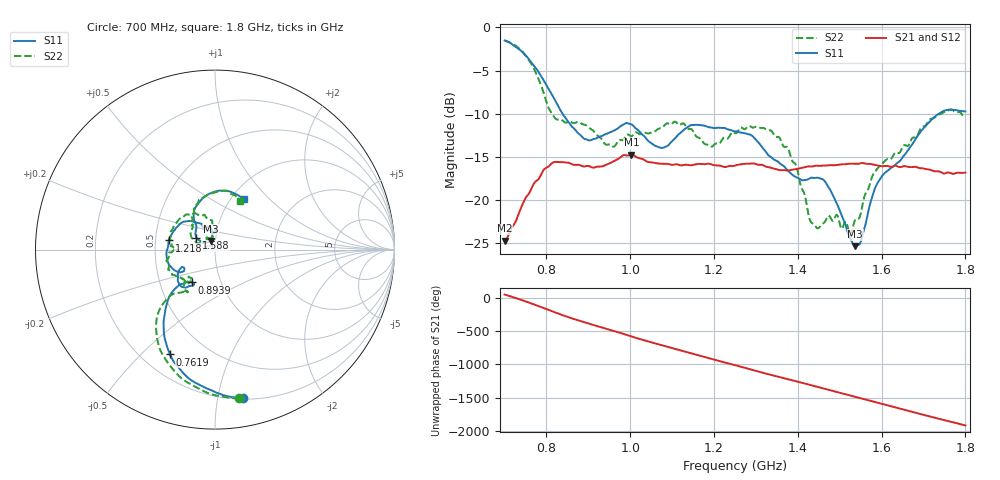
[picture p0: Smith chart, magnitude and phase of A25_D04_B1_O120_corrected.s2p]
! Created with skrf 1.9.0 (http://scikit-rf.org).
# Hz S RI R 50.0
!freq ReS11 ImS11 ReS21 ImS21 ReS12 ImS12 ReS22 ImS22
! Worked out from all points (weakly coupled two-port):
!   1601 points, 700 MHz to 1.8 GHz, reference 50 ohm
!   highest |S21| = -14.75 dB at 1.002 GHz (marker M1); lowest = -24.7 dB at 700 MHz (marker M2)
!   lowest |S11| = -25.4 dB at 1.537 GHz (marker M3), VSWR 1.11, Z = 47.5 + j4.61 ohm
!   |S11| at or under -10 dB: 838.1 MHz to 1.737 GHz (898.4 MHz wide, 69.8 % of centre)
!   |S22| runs from -24.1 to -1.5 dB; largest |S21 - S12| = 0.0033
!   S11 on the Smith chart (normalised r, x): 700 MHz: 0.21, -1.18; 761.9 MHz: 0.31, -0.61; 893.9 MHz: 0.72, -0.28; 1.218 GHz: 0.59, +0.06; 1.588 GHz: 0.81, +0.11; 1.8 GHz: 1.14, +0.72
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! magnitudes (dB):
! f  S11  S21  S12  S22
! 700 MHz  -1.5  -24.7  -24.5  -1.5
! 761.9 MHz  -3.9  -18.9  -18.9  -4.1
! 818.9 MHz  -8.3  -15.6  -15.7  -10.4
! 883.6 MHz  -12.6  -16.1  -16.0  -11.2
! 893.9 MHz  -13.0  -16.1  -16.2  -11.3
! 957.8 MHz  -12.0  -15.6  -15.6  -13.8
! 1.002 GHz  -11.2  -14.8  -14.9  -12.6
! 1.067 GHz  -13.9  -15.8  -15.7  -11.8
! 1.145 GHz  -11.3  -16.0  -16.0  -11.8
! 1.218 GHz  -11.7  -16.1  -16.1  -13.1
! 1.25 GHz  -12.1  -16.0  -16.0  -12.3
! 1.356 GHz  -15.7  -16.5  -16.5  -12.8
! 1.396 GHz  -17.4  -16.4  -16.4  -16.0
! 1.434 GHz  -17.4  -16.1  -16.1  -22.7
! 1.469 GHz  -18.2  -16.0  -16.0  -22.1
! 1.525 GHz  -24.5  -15.8  -15.8  -24.1
! 1.537 GHz  -25.4  -15.8  -15.8  -22.3
! 1.551 GHz  -24.7  -15.7  -15.8  -21.3
! 1.588 GHz  -18.2  -16.0  -16.0  -16.5
! 1.617 GHz  -16.5  -16.1  -16.1  -15.3
! 1.731 GHz  -10.2  -16.7  -16.7  -10.3
! 1.8 GHz  -9.7  -16.8  -16.8  -10.3
